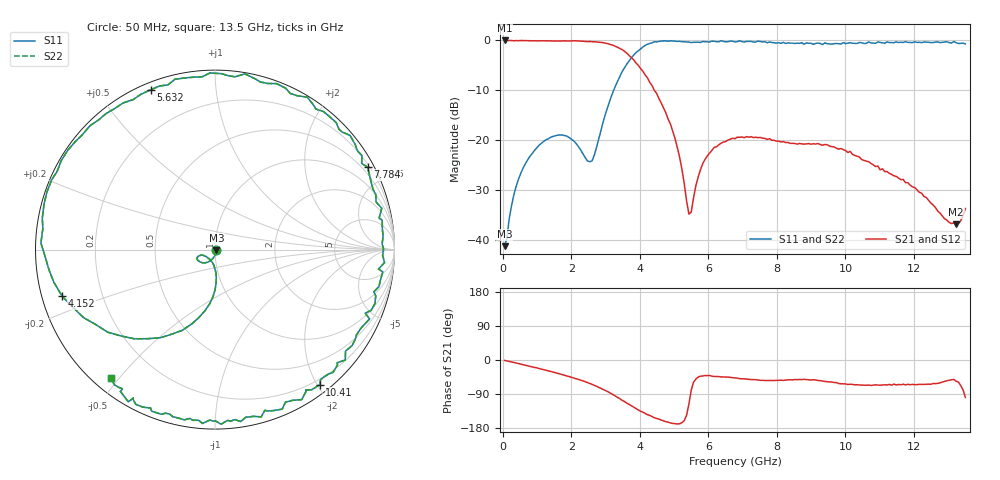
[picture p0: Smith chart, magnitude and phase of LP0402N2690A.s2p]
!	AVX	Thin	Film	Operation	Date:	2004
!	Description:	"Series,"	Thin	"Film,"	"LGA,"	RF	Filters
!	Part	Number:
!	50	MHz	-	13.5	GHz
!	Serial	Measurements
#	mhz	S	db	R	50
!	S11	S11	S21	S21	S12	S12	S22	S22
!	dB	Phase	dB	Phase	dB	Phase	dB	Phase
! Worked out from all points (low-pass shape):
!   201 points, 50 MHz to 13.5 GHz, reference 50 ohm
!   highest |S21| = -0.01 dB at 50 MHz (marker M1); lowest = -36.9 dB at 13.23 GHz (marker M2)
!   |S21| within 3 dB of the highest: start of sweep to 3.682 GHz
!   lowest |S11| = -41.2 dB at 50 MHz (marker M3), VSWR 1.02, Z = 50.8 - j0.436 ohm
!   |S11| at or under -10 dB: start of sweep to 3.233 GHz
!   |S22| runs from -41.2 to -0.1 dB; largest |S21 - S12| = 0.00012
!   S11 on the Smith chart (normalised r, x): 50 MHz: 1.02, -0.01; 4.152 GHz: 0.06, -0.15; 5.632 GHz: 0.03, +0.68; 7.784 GHz: 0.28, +3.93; 10.41 GHz: 0.12, -2.04; 13.5 GHz: 0.05, -0.47
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50  -41.20 -29.5  -0.01 -1.1  -0.00 -1.1  -41.20 -29.5
386.25  -29.25 -93.4  -0.04 -7.9  -0.04 -7.9  -29.25 -93.4
924.25  -22.01 -119.4  -0.07 -19.8  -0.07 -19.8  -22.01 -119.4
1731.25  -18.95 -152.1  -0.11 -38.5  -0.11 -38.5  -18.95 -152.1
2336.5  -22.68 -154.3  -0.16 -55.0  -0.16 -55.0  -22.68 -154.3
2605.5  -24.11 -114.3  -0.26 -64.4  -0.26 -64.4  -24.11 -114.3
3278  -9.24 -99.3  -1.17 -95.1  -1.17 -95.1  -9.24 -99.3
3748.75  -3.50 -131.9  -3.45 -120.6  -3.45 -120.6  -3.50 -131.9
4152.25  -1.01 -163.0  -6.93 -141.0  -6.93 -141.0  -1.01 -163.0
4555.75  -0.19 169.7  -11.68 -156.0  -11.68 -156.0  -0.19 169.7
5026.5  -0.14 142.2  -19.69 -168.0  -19.69 -168.0  -0.14 142.2
5430  -0.32 122.1  -34.77 -116.0  -34.77 -116.0  -0.32 122.1
5631.75  -0.35 111.9  -29.11 -50.4  -29.11 -50.4  -0.35 111.9
6169.75  -0.17 87.9  -21.42 -43.6  -21.42 -43.6  -0.17 87.9
6775  -0.30 64.2  -19.67 -47.4  -19.67 -47.4  -0.30 64.2
7783.75  -0.30 28.4  -19.68 -54.1  -19.68 -54.1  -0.30 28.4
9061.5  -0.77 -14.9  -20.69 -52.1  -20.69 -52.1  -0.77 -14.9
10406.5  -0.42 -52.2  -23.36 -66.0  -23.36 -66.0  -0.42 -52.2
11280.75  -0.42 -77.1  -26.63 -64.5  -26.63 -64.5  -0.42 -77.1
12020.5  -0.26 -94.1  -29.47 -65.1  -29.47 -65.1  -0.26 -94.1
13231  -0.45 -123.7  -36.86 -56.0  -36.86 -56.0  -0.45 -123.7
13500  -0.70 -129.1  -33.66 -99.1  -33.66 -99.1  -0.70 -129.1
